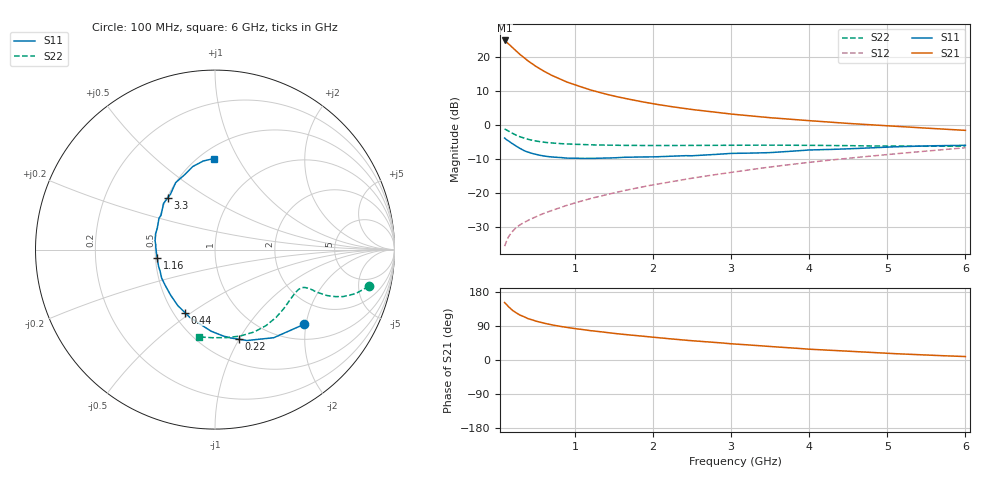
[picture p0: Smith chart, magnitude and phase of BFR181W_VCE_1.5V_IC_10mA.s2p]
! Infineon Technologies  Discrete & RF Semiconductors
! BFR181W
! VCE =  1.5 V,  IC =  10 mA
! Common Emitter S-Parameters:  Nov 2015
# GHz  S  MA  R  50
!  f  S11  S21  S12  S22
! GHz  MAG  ANG  MAG  ANG  MAG  ANG  MAG  ANG
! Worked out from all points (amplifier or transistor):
!   192 points, 100 MHz to 6 GHz, reference 50 ohm
!   highest |S21| = 24.9 dB at 100 MHz (marker M1)
!   |S21| within 3 dB of that: start of sweep to 244.1 MHz
!   unconditionally stable (mu >= 1): 667.6 MHz to 3.31 GHz
!   at 440 MHz: K = 0.82, MSG = 22.9 dB, |S12| = -27.5 dB
!   at 1.7 GHz: K = 1.17, MAG = 10.7 dB, |S12| = -18.9 dB
!   at 6 GHz: K = 0.83, MSG = 2.6 dB, |S12| = -6.6 dB
!   S11 on the Smith chart (normalised r, x): 100 MHz: 1.37, -1.96; 220 MHz: 0.73, -1.00; 440 MHz: 0.57, -0.47; 1.16 GHz: 0.51, -0.05; 3.3 GHz: 0.50, +0.34; 6 GHz: 0.59, +0.80
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0.1  0.6487 -39.8  17.51 151.6  0.0168 72.0  0.8817 -13.4
0.15  0.5901 -56.3  15.63 140.3  0.0231 66.6  0.819 -17.5
0.2  0.537 -70.6  13.82 131.2  0.0276 62.8  0.7616 -20.1
0.22  0.5165 -75.1  13.15 128.6  0.0292 61.8  0.7415 -20.7
0.26  0.4838 -84.5  11.93 123.0  0.0322 60.4  0.704 -21.7
0.3  0.455 -92.8  10.84 118.2  0.0347 59.6  0.6741 -22.3
0.4  0.4027 -110.5  8.767 109.1  0.0401 59.2  0.6193 -22.7
0.44  0.3889 -115.5  8.166 106.8  0.0422 59.7  0.6057 -22.6
0.5  0.3744 -123.7  7.295 102.6  0.0454 60.3  0.5853 -22.5
0.56  0.3607 -130.0  6.648 99.6  0.0486 61.1  0.5718 -22.6
0.6  0.3541 -134.4  6.229 97.3  0.0508 61.6  0.5628 -22.6
0.7  0.3424 -143.6  5.409 92.9  0.0559 63.0  0.5487 -22.7
0.9  0.3288 -157.9  4.289 85.9  0.0669 65.5  0.5307 -23.5
1.1  0.3258 -168.6  3.591 80.3  0.0781 67.5  0.5198 -24.9
1.16  0.3256 -171.7  3.408 78.6  0.0816 68.0  0.5169 -25.4
1.5  0.3317 174.8  2.677 70.2  0.1016 69.5  0.5076 -28.6
2.08  0.345 158.0  1.996 58.5  0.1385 71.0  0.5031 -35.3
3.1  0.3869 136.1  1.422 41.5  0.211 69.8  0.508 -49.7
3.3  0.3907 132.4  1.353 38.6  0.2272 69.1  0.5082 -53.0
4.1  0.4356 118.7  1.144 27.5  0.2934 65.2  0.5058 -66.4
5.1  0.4821 103.5  0.966 16.7  0.38 58.8  0.493 -84.4
6  0.5074 90.6  0.84 9.1  0.4666 52.1  0.4946 -100.1
